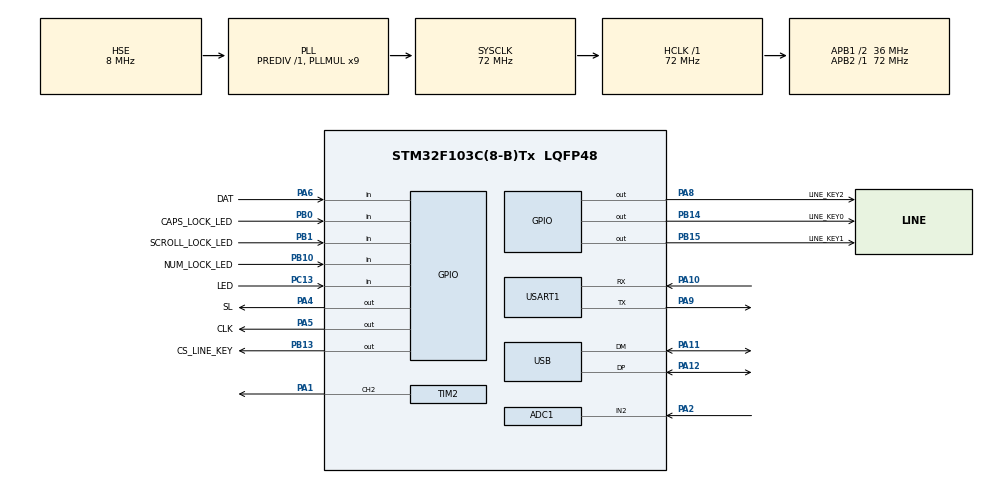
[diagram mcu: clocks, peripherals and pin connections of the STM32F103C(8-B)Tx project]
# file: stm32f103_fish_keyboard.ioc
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ADC1.Channel-0\#ChannelRegularConversion=ADC_CHANNEL_2
ADC1.ContinuousConvMode=ENABLE
ADC1.NbrOfConversionFlag=1
ADC1.Rank-0\#ChannelRegularConversion=1
ADC1.SamplingTime-0\#ChannelRegularConversion=ADC_SAMPLETIME_239CYCLES_5
ADC1.master=1
Dma.Request0=TIM2_CH2/CH4
Dma.Request1=USART1_RX
Dma.Request2=USART1_TX
Dma.TIM2_CH2/CH4.0.Direction=DMA_MEMORY_TO_PERIPH
Dma.TIM2_CH2/CH4.0.Instance=DMA1_Channel7
Dma.TIM2_CH2/CH4.0.MemDataAlignment=DMA_MDATAALIGN_HALFWORD
Dma.TIM2_CH2/CH4.0.MemInc=DMA_MINC_ENABLE
Dma.TIM2_CH2/CH4.0.Mode=DMA_NORMAL
Dma.TIM2_CH2/CH4.0.PeriphDataAlignment=DMA_PDATAALIGN_HALFWORD
Dma.TIM2_CH2/CH4.0.PeriphInc=DMA_PINC_DISABLE
Dma.TIM2_CH2/CH4.0.Priority=DMA_PRIORITY_LOW
Dma.USART1_RX.1.Direction=DMA_PERIPH_TO_MEMORY
Dma.USART1_RX.1.Instance=DMA1_Channel5
Dma.USART1_RX.1.MemDataAlignment=DMA_MDATAALIGN_BYTE
Dma.USART1_RX.1.MemInc=DMA_MINC_ENABLE
Dma.USART1_RX.1.Mode=DMA_NORMAL
Dma.USART1_RX.1.PeriphDataAlignment=DMA_PDATAALIGN_BYTE
Dma.USART1_RX.1.PeriphInc=DMA_PINC_DISABLE
Dma.USART1_RX.1.Priority=DMA_PRIORITY_LOW
Dma.USART1_TX.2.Direction=DMA_MEMORY_TO_PERIPH
Dma.USART1_TX.2.Instance=DMA1_Channel4
Dma.USART1_TX.2.MemDataAlignment=DMA_MDATAALIGN_BYTE
Dma.USART1_TX.2.MemInc=DMA_MINC_ENABLE
Dma.USART1_TX.2.Mode=DMA_NORMAL
Dma.USART1_TX.2.PeriphDataAlignment=DMA_PDATAALIGN_BYTE
Dma.USART1_TX.2.PeriphInc=DMA_PINC_DISABLE
Dma.USART1_TX.2.Priority=DMA_PRIORITY_LOW
Mcu.Family=STM32F1
Mcu.Name=STM32F103C(8-B)Tx
Mcu.Package=LQFP48
NVIC.DMA1_Channel4_IRQn=true\:0\:0\:false\:false\:true\:false\:true\:true
NVIC.DMA1_Channel5_IRQn=true\:0\:0\:false\:false\:true\:false\:true\:true
NVIC.DMA1_Channel7_IRQn=true\:0\:0\:false\:false\:true\:false\:true\:true
NVIC.PriorityGroup=NVIC_PRIORITYGROUP_4
NVIC.USART1_IRQn=true\:0\:0\:false\:false\:true\:true\:true\:true
NVIC.USB_LP_CAN1_RX0_IRQn=true\:0\:0\:false\:false\:true\:false\:true\:true
PA1.Signal=S_TIM2_CH2
PA10.Mode=Asynchronous
PA10.Signal=USART1_RX
PA11.Mode=Device
PA11.Signal=USB_DM
PA12.Mode=Device
PA12.Signal=USB_DP
PA13.Mode=Serial_Wire
PA13.Signal=SYS_JTMS-SWDIO
PA14.Mode=Serial_Wire
PA14.Signal=SYS_JTCK-SWCLK
PA2.Signal=ADCx_IN2
PA4.GPIO_Label=SL
PA4.Signal=GPIO_Output
PA5.GPIO_Label=CLK
PA5.Signal=GPIO_Output
PA6.GPIO_Label=DAT
PA6.GPIO_PuPd=GPIO_PULLDOWN
PA6.Signal=GPIO_Input
PA8.GPIO_Label=LINE_KEY2
PA8.GPIO_PuPd=GPIO_NOPULL
PA8.PinState=GPIO_PIN_SET
PA8.Signal=GPIO_Output
PA9.Mode=Asynchronous
PA9.Signal=USART1_TX
PB0.GPIO_Label=CAPS_LOCK_LED
PB0.GPIO_PuPd=GPIO_PULLUP
PB0.Signal=GPIO_Input
PB1.GPIO_Label=SCROLL_LOCK_LED
PB1.GPIO_PuPd=GPIO_PULLUP
PB1.Signal=GPIO_Input
PB10.GPIO_Label=NUM_LOCK_LED
PB10.GPIO_PuPd=GPIO_PULLUP
PB10.Signal=GPIO_Input
PB13.GPIO_Label=CS_LINE_KEY
PB13.GPIO_PuPd=GPIO_NOPULL
PB13.Signal=GPIO_Output
PB14.GPIO_Label=LINE_KEY0
PB14.GPIO_PuPd=GPIO_NOPULL
PB14.PinState=GPIO_PIN_SET
PB14.Signal=GPIO_Output
PB15.GPIO_Label=LINE_KEY1
PB15.GPIO_PuPd=GPIO_NOPULL
PB15.PinState=GPIO_PIN_SET
PB15.Signal=GPIO_Output
PC13-TAMPER-RTC.GPIO_Label=LED
PC13-TAMPER-RTC.GPIO_PuPd=GPIO_PULLUP
PC13-TAMPER-RTC.Signal=GPIO_Input
PC14-OSC32_IN.Mode=LSE-External-Oscillator
PC14-OSC32_IN.Signal=RCC_OSC32_IN
PC15-OSC32_OUT.Mode=LSE-External-Oscillator
PC15-OSC32_OUT.Signal=RCC_OSC32_OUT
PD0-OSC_IN.Mode=HSE-External-Oscillator
PD0-OSC_IN.Signal=RCC_OSC_IN
PD1-OSC_OUT.Mode=HSE-External-Oscillator
PD1-OSC_OUT.Signal=RCC_OSC_OUT
ProjectManager.HeapSize=0x200
ProjectManager.StackSize=0x400
ProjectManager.TargetToolchain=MDK-ARM V5.32
RCC.ADCPresc=RCC_ADCPCLK2_DIV6
RCC.AHBFreq_Value=72000000
RCC.APB1CLKDivider=RCC_HCLK_DIV2
RCC.APB1Freq_Value=36000000
RCC.APB1TimFreq_Value=72000000
RCC.APB2Freq_Value=72000000
RCC.APB2TimFreq_Value=72000000
RCC.HCLKFreq_Value=72000000
RCC.PLLMUL=RCC_PLL_MUL9
RCC.SYSCLKFreq_VALUE=72000000
RCC.SYSCLKSource=RCC_SYSCLKSOURCE_PLLCLK
RCC.USBFreq_Value=48000000
RCC.USBPrescaler=RCC_USBCLKSOURCE_PLL_DIV1_5
SH.ADCx_IN2.0=ADC1_IN2,IN2
SH.S_TIM2_CH2.0=TIM2_CH2,PWM Generation2 CH2
TIM2.Channel-PWM\ Generation2\ CH2=TIM_CHANNEL_2
TIM2.Period=90-1
USART1.VirtualMode=VM_ASYNC
USB_DEVICE.CLASS_NAME_FS=HID
USB_DEVICE.MANUFACTURER_STRING=Fish KeyBoard
USB_DEVICE.PID_HID_FS=20315
USB_DEVICE.PRODUCT_STRING_HID_FS=Fish KeyBoard
USB_DEVICE.VID=1055
USB_DEVICE.VirtualMode=Hid
USB_DEVICE.VirtualModeFS=Hid_FS
VP_TIM2_VS_ClockSourceINT.Mode=Internal
VP_USB_DEVICE_VS_USB_DEVICE_HID_FS.Mode=HID_FS
board=custom

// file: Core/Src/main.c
/* USER CODE BEGIN Header */
/**
  ******************************************************************************
  * @file           : main.c
  * @brief          : Main program body
  ******************************************************************************
  * @attention
  *
  * Copyright (c) 2022 STMicroelectronics.
  * All rights reserved.
  *
  * This software is licensed under terms that can be found in the LICENSE file
  * in the root directory of this software component.
  * If no LICENSE file comes with this software, it is provided AS-IS.
  *
  ******************************************************************************
  */
/* USER CODE END Header */
#include "main.h"
#include "usb_device.h"

/* USER CODE BEGIN Includes */
#include "usbd_hid.h"
#include "fish_keyboard.h"
#include "tim_pwm_led_stm32.h"
/* USER CODE END Includes */

/* USER CODE BEGIN PTD */
extern USBD_HandleTypeDef hUsbDeviceFS;
/* USER CODE END PTD */

/* USER CODE BEGIN PD */

c_timer_manager_t* timer_manager;
tim_pwm_led_stm32_t* tim_pwm_led;
scan_keyboard_t* scan_keyboard_manager;
/* USER CODE END PD */

 ADC_HandleTypeDef hadc1;

TIM_HandleTypeDef htim2;
DMA_HandleTypeDef hdma_tim2_ch2_ch4;

UART_HandleTypeDef huart1;
DMA_HandleTypeDef hdma_usart1_rx;
DMA_HandleTypeDef hdma_usart1_tx;

void SystemClock_Config(void);
static void MX_GPIO_Init(void);
static void MX_DMA_Init(void);
static void MX_TIM2_Init(void);
static void MX_ADC1_Init(void);
static void MX_USART1_UART_Init(void);

/* USER CODE BEGIN 0 */

static uint32_t fac_us;
void HAL_Delay_us_init(uint8_t SYSCLK) {
     fac_us=SYSCLK;
}

void HAL_Delay_us(uint32_t nus) {
    uint32_t ticks;
    uint32_t told,tnow,tcnt=0;
    uint32_t reload=SysTick->LOAD;
    ticks=nus*fac_us;
    told=SysTick->VAL;
    while(1) {
        tnow=SysTick->VAL;
        if(tnow!=told) {
            if(tnow<told)tcnt+=told-tnow;
            else tcnt+=reload-tnow+told;
            told=tnow;
            if(tcnt>=ticks)break;
        }
    };
}

//static inline void set_line_semaphore(uint32_t line_id) {
//	uint8_t i = 0;
//	uint8_t n = 0;
//	uint8_t byte[2] = {0};
//	(void)byte;
//	if (line_id > 8) {
//		return;
//	}

//	HAL_GPIO_WritePin(CS_LINE_KEY_GPIO_Port, CS_LINE_KEY_Pin, GPIO_PIN_SET);

//	HAL_GPIO_WritePin(LINE_KEY0_GPIO_Port, LINE_KEY0_Pin, (line_id & (1 << 0)) ? GPIO_PIN_SET : GPIO_PIN_RESET);
//	HAL_GPIO_WritePin(LINE_KEY1_GPIO_Port, LINE_KEY1_Pin, (line_id & (1 << 1)) ? GPIO_PIN_SET : GPIO_PIN_RESET);
//	HAL_GPIO_WritePin(LINE_KEY2_GPIO_Port, LINE_KEY2_Pin, (line_id & (1 << 2)) ? GPIO_PIN_SET : GPIO_PIN_RESET);

//	HAL_GPIO_WritePin(SL_GPIO_Port, SL_Pin, GPIO_PIN_RESET);
//	HAL_Delay_us(1);
//	HAL_GPIO_WritePin(SL_GPIO_Port, SL_Pin, GPIO_PIN_SET);
//	for (n = 0; n < sizeof(byte); n++) {
//		uint8_t dat = 0;
//		for(i = 0; i < 8; i++) {
//			HAL_GPIO_WritePin(CLK_GPIO_Port, CLK_Pin, GPIO_PIN_RESET);
//			if (HAL_GPIO_ReadPin(DAT_GPIO_Port, DAT_Pin) == GPIO_PIN_SET) {
//				dat |= (1 << (7 - i));
//			}
//			HAL_GPIO_WritePin(CLK_GPIO_Port, CLK_Pin, GPIO_PIN_SET);
//		}
//		byte[n] = dat;
//	}

//	HAL_GPIO_WritePin(CS_LINE_KEY_GPIO_Port, CS_LINE_KEY_Pin, GPIO_PIN_RESET);

//	HAL_GPIO_WritePin(LINE_KEY0_GPIO_Port, LINE_KEY0_Pin, GPIO_PIN_SET);
//	HAL_GPIO_WritePin(LINE_KEY1_GPIO_Port, LINE_KEY1_Pin, GPIO_PIN_SET);
//	HAL_GPIO_WritePin(LINE_KEY2_GPIO_Port, LINE_KEY2_Pin, GPIO_PIN_SET);
//}

#define LINE_KEY_MAX_SIZE					16

static void get_line_semaphore(uint32_t line_id, uint8_t line_key_list[LINE_KEY_MAX_SIZE]) {
	uint8_t n = 0;
	if (line_id > 8) {
		return;
	}

	HAL_GPIO_WritePin(CS_LINE_KEY_GPIO_Port, CS_LINE_KEY_Pin, GPIO_PIN_SET);

	HAL_GPIO_WritePin(LINE_KEY0_GPIO_Port, LINE_KEY0_Pin, (line_id & (1 << 0)) ? GPIO_PIN_SET : GPIO_PIN_RESET);
	HAL_GPIO_WritePin(LINE_KEY1_GPIO_Port, LINE_KEY1_Pin, (line_id & (1 << 1)) ? GPIO_PIN_SET : GPIO_PIN_RESET);
	HAL_GPIO_WritePin(LINE_KEY2_GPIO_Port, LINE_KEY2_Pin, (line_id & (1 << 2)) ? GPIO_PIN_SET : GPIO_PIN_RESET);

	HAL_GPIO_WritePin(SL_GPIO_Port, SL_Pin, GPIO_PIN_RESET);
	HAL_Delay_us(1);
	HAL_GPIO_WritePin(SL_GPIO_Port, SL_Pin, GPIO_PIN_SET);
	for (n = 0; n < LINE_KEY_MAX_SIZE; n++) {
		HAL_GPIO_WritePin(CLK_GPIO_Port, CLK_Pin, GPIO_PIN_RESET);
		line_key_list[LINE_KEY_MAX_SIZE - n - 1] = HAL_GPIO_ReadPin(DAT_GPIO_Port, DAT_Pin) == GPIO_PIN_SET ? TRUE : FALSE;
		HAL_GPIO_WritePin(CLK_GPIO_Port, CLK_Pin, GPIO_PIN_SET);
	}
	HAL_GPIO_WritePin(CS_LINE_KEY_GPIO_Port, CS_LINE_KEY_Pin, GPIO_PIN_RESET);

	HAL_GPIO_WritePin(LINE_KEY0_GPIO_Port, LINE_KEY0_Pin, GPIO_PIN_SET);
	HAL_GPIO_WritePin(LINE_KEY1_GPIO_Port, LINE_KEY1_Pin, GPIO_PIN_SET);
	HAL_GPIO_WritePin(LINE_KEY2_GPIO_Port, LINE_KEY2_Pin, GPIO_PIN_SET);
}

static c_bool_t physical_keyboard_get_scan_keys(uint32_t number_line, uint8_t* key_list, uint32_t* key_list_size) {
  *key_list_size = LINE_KEY_MAX_SIZE;
	if (number_line < 2) {
		get_line_semaphore(number_line, key_list);
		return TRUE;
	}
	return FALSE;
}

int8_t USBD_HID_OutEvent(uint8_t event_idx, uint8_t state)
{
  scan_keyboard_set_num_lock_statue(scan_keyboard_manager, event_idx & USB_HID_NUM_LOCK_STATE_UP);
  scan_keyboard_set_caps_lock_statue(scan_keyboard_manager, event_idx & USB_HID_CAPS_LOCK_STATE_UP);
  scan_keyboard_set_scroll_lock_statue(scan_keyboard_manager, event_idx & USB_HID_SCROLL_LOCK_STATE_UP);
  /* test */
	if ((event_idx & USB_HID_NUM_LOCK_STATE_UP)) {
    HAL_GPIO_WritePin(LED_GPIO_Port, LED_Pin, GPIO_PIN_RESET);
  } else {
    HAL_GPIO_WritePin(LED_GPIO_Port, LED_Pin, GPIO_PIN_SET);
  }
  if ((event_idx & USB_HID_NUM_LOCK_STATE_UP)) {
    HAL_GPIO_WritePin(NUM_LOCK_LED_GPIO_Port, NUM_LOCK_LED_Pin, GPIO_PIN_RESET);
  } else {
    HAL_GPIO_WritePin(NUM_LOCK_LED_GPIO_Port, NUM_LOCK_LED_Pin, GPIO_PIN_SET);
  }

	if ((event_idx & USB_HID_CAPS_LOCK_STATE_UP)) {
    HAL_GPIO_WritePin(CAPS_LOCK_LED_GPIO_Port, CAPS_LOCK_LED_Pin, GPIO_PIN_RESET);
  } else {
    HAL_GPIO_WritePin(CAPS_LOCK_LED_GPIO_Port, CAPS_LOCK_LED_Pin, GPIO_PIN_SET);
  }

	if ((event_idx & USB_HID_SCROLL_LOCK_STATE_UP)) {
    HAL_GPIO_WritePin(SCROLL_LOCK_LED_GPIO_Port, SCROLL_LOCK_LED_Pin, GPIO_PIN_RESET);
  } else {
    HAL_GPIO_WritePin(SCROLL_LOCK_LED_GPIO_Port, SCROLL_LOCK_LED_Pin, GPIO_PIN_SET);
  }

  return 0;
}

void scan_keyboard_init_all_lock_statue() {
  uint8_t KeyBoard[8] = {0,0,71,0,0,0,0,0};
  uint8_t KeyBoard01[8] = {0,0,0,0,0,0,0,0};

  USBD_HID_SendReport(&hUsbDeviceFS,(uint8_t*)&KeyBoard,sizeof(KeyBoard));
  HAL_Delay(15);
  USBD_HID_SendReport(&hUsbDeviceFS,(uint8_t*)&KeyBoard01,sizeof(KeyBoard01));
  HAL_Delay(15);
  USBD_HID_SendReport(&hUsbDeviceFS,(uint8_t*)&KeyBoard,sizeof(KeyBoard));
  HAL_Delay(15);
  USBD_HID_SendReport(&hUsbDeviceFS,(uint8_t*)&KeyBoard01,sizeof(KeyBoard01));
  HAL_Delay(15);
}

//void HAL_ADC_ConvCpltCallback(ADC_HandleTypeDef* hadc)
//{
//  float ADC_ConvertedValue = HAL_ADC_GetValue(hadc) * 3.3f / 4095.0f;
//  if (ADC_ConvertedValue > 2.0f) {
//    ADC_ConvertedValue = 3.0f;
//  } else {
//    ADC_ConvertedValue = 0.0f;
//  }
//}

/* USER CODE END 0 */

int main(void)
{

  /* MCU Configuration--------------------------------------------------------*/

  /* Reset of all peripherals, Initializes the Flash interface and the Systick. */
  HAL_Init();

  /* Configure the system clock */
  SystemClock_Config();

  /* Initialize all configured peripherals */
  MX_GPIO_Init();
  MX_DMA_Init();
  MX_USB_DEVICE_Init();
  MX_TIM2_Init();
  MX_ADC1_Init();
  MX_USART1_UART_Init();
  /* USER CODE BEGIN 2 */
  HAL_ADCEx_Calibration_Start(&hadc1);
  //HAL_ADC_Start_IT(&hadc1);
  HAL_ADC_Start(&hadc1);

  timer_manager = c_timer_manager_init();
  tim_pwm_led = tim_pwm_led_stm32_init(TIM_PWM_LED_TYPE_WS2812_GRB, &htim2, TIM_CHANNEL_2);
  tim_pwm_led_stm32_set_static_color(tim_pwm_led, 0x00, 0x00, 0xff);
  tim_pwm_led_stm32_set_round_hsv_color_model(tim_pwm_led, 1000 * 10);
//  tim_pwm_led_stm32_set_breathing_color(tim_pwm_led, 1000);
//  tim_pwm_led_stm32_set_curr_color(tim_pwm_led, 0xff, 0x0, 0x0);
	scan_keyboard_manager = scan_keyboard_create(NULL, physical_keyboard_get_scan_keys);
  scan_keyboard_init_all_lock_statue();

  //HAL_GPIO_WritePin(LED_GPIO_Port, LED_Pin, GPIO_PIN_SET);
  /* USER CODE END 2 */

  /* Infinite loop */
  /* USER CODE BEGIN WHILE */
  while (1)
  {
    float ADC_ConvertedValue = 0.0f;
		uint8_t keyboard[8] = {0};
    char rx_buffer[100]={0};

    HAL_ADC_PollForConversion(&hadc1, 50);
		if(HAL_IS_BIT_SET(HAL_ADC_GetState(&hadc1), HAL_ADC_STATE_REG_EOC)) {
			ADC_ConvertedValue = HAL_ADC_GetValue(&hadc1) * 3.3f / 4095.0f;
			sprintf(rx_buffer, "curr:%f ma\r\n", ADC_ConvertedValue * 1000 * 10 / 20);
			HAL_UART_Transmit_DMA(&huart1, (void*)rx_buffer, sizeof(rx_buffer));
		}

    c_timer_manager_dispatch_one(timer_manager);
		scan_keyboard_get_usb_keyboard_code(scan_keyboard_manager, keyboard);
    USBD_HID_SendReport(&hUsbDeviceFS, (uint8_t*)&keyboard, sizeof(keyboard));
		HAL_Delay(10);

//		HAL_GPIO_TogglePin(LED_GPIO_Port, LED_Pin);
//		set_line_semaphore(1);
//    HAL_Delay(1000);

    /* USER CODE END WHILE */

    /* USER CODE BEGIN 3 */
  }

  tim_pwm_led_stm32_deinit(tim_pwm_led);

	c_timer_manager_deinit(timer_manager);
	scan_keyboard_destroy(scan_keyboard_manager);

  /* USER CODE END 3 */
}

void SystemClock_Config(void)
{
  RCC_OscInitTypeDef RCC_OscInitStruct = {0};
  RCC_ClkInitTypeDef RCC_ClkInitStruct = {0};
  RCC_PeriphCLKInitTypeDef PeriphClkInit = {0};

  /** Initializes the RCC Oscillators according to the specified parameters
  * in the RCC_OscInitTypeDef structure.
  */
  RCC_OscInitStruct.OscillatorType = RCC_OSCILLATORTYPE_HSE;
  RCC_OscInitStruct.HSEState = RCC_HSE_ON;
  RCC_OscInitStruct.HSEPredivValue = RCC_HSE_PREDIV_DIV1;
  RCC_OscInitStruct.HSIState = RCC_HSI_ON;
  RCC_OscInitStruct.PLL.PLLState = RCC_PLL_ON;
  RCC_OscInitStruct.PLL.PLLSource = RCC_PLLSOURCE_HSE;
  RCC_OscInitStruct.PLL.PLLMUL = RCC_PLL_MUL9;
  if (HAL_RCC_OscConfig(&RCC_OscInitStruct) != HAL_OK)
  {
    Error_Handler();
  }

  /** Initializes the CPU, AHB and APB buses clocks
  */
  RCC_ClkInitStruct.ClockType = RCC_CLOCKTYPE_HCLK|RCC_CLOCKTYPE_SYSCLK
                              |RCC_CLOCKTYPE_PCLK1|RCC_CLOCKTYPE_PCLK2;
  RCC_ClkInitStruct.SYSCLKSource = RCC_SYSCLKSOURCE_PLLCLK;
  RCC_ClkInitStruct.AHBCLKDivider = RCC_SYSCLK_DIV1;
  RCC_ClkInitStruct.APB1CLKDivider = RCC_HCLK_DIV2;
  RCC_ClkInitStruct.APB2CLKDivider = RCC_HCLK_DIV1;

  if (HAL_RCC_ClockConfig(&RCC_ClkInitStruct, FLASH_LATENCY_2) != HAL_OK)
  {
    Error_Handler();
  }
  PeriphClkInit.PeriphClockSelection = RCC_PERIPHCLK_ADC|RCC_PERIPHCLK_USB;
  PeriphClkInit.AdcClockSelection = RCC_ADCPCLK2_DIV6;
  PeriphClkInit.UsbClockSelection = RCC_USBCLKSOURCE_PLL_DIV1_5;
  if (HAL_RCCEx_PeriphCLKConfig(&PeriphClkInit) != HAL_OK)
  {
    Error_Handler();
  }
}

static void MX_ADC1_Init(void)
{

  ADC_ChannelConfTypeDef sConfig = {0};

  /** Common config
  */
  hadc1.Instance = ADC1;
  hadc1.Init.ScanConvMode = ADC_SCAN_DISABLE;
  hadc1.Init.ContinuousConvMode = ENABLE;
  hadc1.Init.DiscontinuousConvMode = DISABLE;
  hadc1.Init.ExternalTrigConv = ADC_SOFTWARE_START;
  hadc1.Init.DataAlign = ADC_DATAALIGN_RIGHT;
  hadc1.Init.NbrOfConversion = 1;
  if (HAL_ADC_Init(&hadc1) != HAL_OK)
  {
    Error_Handler();
  }

  /** Configure Regular Channel
  */
  sConfig.Channel = ADC_CHANNEL_2;
  sConfig.Rank = ADC_REGULAR_RANK_1;
  sConfig.SamplingTime = ADC_SAMPLETIME_239CYCLES_5;
  if (HAL_ADC_ConfigChannel(&hadc1, &sConfig) != HAL_OK)
  {
    Error_Handler();
  }

}

static void MX_TIM2_Init(void)
{

  TIM_ClockConfigTypeDef sClockSourceConfig = {0};
  TIM_MasterConfigTypeDef sMasterConfig = {0};
  TIM_OC_InitTypeDef sConfigOC = {0};

  htim2.Instance = TIM2;
  htim2.Init.Prescaler = 0;
  htim2.Init.CounterMode = TIM_COUNTERMODE_UP;
  htim2.Init.Period = 90-1;
  htim2.Init.ClockDivision = TIM_CLOCKDIVISION_DIV1;
  htim2.Init.AutoReloadPreload = TIM_AUTORELOAD_PRELOAD_DISABLE;
  if (HAL_TIM_Base_Init(&htim2) != HAL_OK)
  {
    Error_Handler();
  }
  sClockSourceConfig.ClockSource = TIM_CLOCKSOURCE_INTERNAL;
  if (HAL_TIM_ConfigClockSource(&htim2, &sClockSourceConfig) != HAL_OK)
  {
    Error_Handler();
  }
  if (HAL_TIM_PWM_Init(&htim2) != HAL_OK)
  {
    Error_Handler();
  }
  sMasterConfig.MasterOutputTrigger = TIM_TRGO_RESET;
  sMasterConfig.MasterSlaveMode = TIM_MASTERSLAVEMODE_DISABLE;
  if (HAL_TIMEx_MasterConfigSynchronization(&htim2, &sMasterConfig) != HAL_OK)
  {
    Error_Handler();
  }
  sConfigOC.OCMode = TIM_OCMODE_PWM1;
  sConfigOC.Pulse = 0;
  sConfigOC.OCPolarity = TIM_OCPOLARITY_HIGH;
  sConfigOC.OCFastMode = TIM_OCFAST_DISABLE;
  if (HAL_TIM_PWM_ConfigChannel(&htim2, &sConfigOC, TIM_CHANNEL_2) != HAL_OK)
  {
    Error_Handler();
  }
  HAL_TIM_MspPostInit(&htim2);

}

static void MX_USART1_UART_Init(void)
{

  huart1.Instance = USART1;
  huart1.Init.BaudRate = 115200;
  huart1.Init.WordLength = UART_WORDLENGTH_8B;
  huart1.Init.StopBits = UART_STOPBITS_1;
  huart1.Init.Parity = UART_PARITY_NONE;
  huart1.Init.Mode = UART_MODE_TX_RX;
  huart1.Init.HwFlowCtl = UART_HWCONTROL_NONE;
  huart1.Init.OverSampling = UART_OVERSAMPLING_16;
  if (HAL_UART_Init(&huart1) != HAL_OK)
  {
    Error_Handler();
  }

}

static void MX_DMA_Init(void)
{

  /* DMA controller clock enable */
  __HAL_RCC_DMA1_CLK_ENABLE();

  /* DMA interrupt init */
  /* DMA1_Channel4_IRQn interrupt configuration */
  HAL_NVIC_SetPriority(DMA1_Channel4_IRQn, 0, 0);
  HAL_NVIC_EnableIRQ(DMA1_Channel4_IRQn);
  /* DMA1_Channel5_IRQn interrupt configuration */
  HAL_NVIC_SetPriority(DMA1_Channel5_IRQn, 0, 0);
  HAL_NVIC_EnableIRQ(DMA1_Channel5_IRQn);
  /* DMA1_Channel7_IRQn interrupt configuration */
  HAL_NVIC_SetPriority(DMA1_Channel7_IRQn, 0, 0);
  HAL_NVIC_EnableIRQ(DMA1_Channel7_IRQn);

}

static void MX_GPIO_Init(void)
{
  GPIO_InitTypeDef GPIO_InitStruct = {0};

  /* GPIO Ports Clock Enable */
  __HAL_RCC_GPIOC_CLK_ENABLE();
  __HAL_RCC_GPIOD_CLK_ENABLE();
  __HAL_RCC_GPIOA_CLK_ENABLE();
  __HAL_RCC_GPIOB_CLK_ENABLE();

  /*Configure GPIO pin Output Level */
  HAL_GPIO_WritePin(GPIOA, SL_Pin|CLK_Pin, GPIO_PIN_RESET);

  /*Configure GPIO pin Output Level */
  HAL_GPIO_WritePin(CS_LINE_KEY_GPIO_Port, CS_LINE_KEY_Pin, GPIO_PIN_RESET);

  /*Configure GPIO pin Output Level */
  HAL_GPIO_WritePin(GPIOB, LINE_KEY0_Pin|LINE_KEY1_Pin, GPIO_PIN_SET);

  /*Configure GPIO pin Output Level */
  HAL_GPIO_WritePin(LINE_KEY2_GPIO_Port, LINE_KEY2_Pin, GPIO_PIN_SET);

  /*Configure GPIO pin : LED_Pin */
  GPIO_InitStruct.Pin = LED_Pin;
  GPIO_InitStruct.Mode = GPIO_MODE_INPUT;
  GPIO_InitStruct.Pull = GPIO_PULLUP;
  HAL_GPIO_Init(LED_GPIO_Port, &GPIO_InitStruct);

  /*Configure GPIO pins : SL_Pin CLK_Pin LINE_KEY2_Pin */
  GPIO_InitStruct.Pin = SL_Pin|CLK_Pin|LINE_KEY2_Pin;
  GPIO_InitStruct.Mode = GPIO_MODE_OUTPUT_PP;
  GPIO_InitStruct.Pull = GPIO_NOPULL;
  GPIO_InitStruct.Speed = GPIO_SPEED_FREQ_LOW;
  HAL_GPIO_Init(GPIOA, &GPIO_InitStruct);

  /*Configure GPIO pin : DAT_Pin */
  GPIO_InitStruct.Pin = DAT_Pin;
  GPIO_InitStruct.Mode = GPIO_MODE_INPUT;
  GPIO_InitStruct.Pull = GPIO_PULLDOWN;
  HAL_GPIO_Init(DAT_GPIO_Port, &GPIO_InitStruct);

  /*Configure GPIO pins : CAPS_LOCK_LED_Pin SCROLL_LOCK_LED_Pin NUM_LOCK_LED_Pin */
  GPIO_InitStruct.Pin = CAPS_LOCK_LED_Pin|SCROLL_LOCK_LED_Pin|NUM_LOCK_LED_Pin;
  GPIO_InitStruct.Mode = GPIO_MODE_INPUT;
  GPIO_InitStruct.Pull = GPIO_PULLUP;
  HAL_GPIO_Init(GPIOB, &GPIO_InitStruct);

  /*Configure GPIO pins : CS_LINE_KEY_Pin LINE_KEY0_Pin LINE_KEY1_Pin */
  GPIO_InitStruct.Pin = CS_LINE_KEY_Pin|LINE_KEY0_Pin|LINE_KEY1_Pin;
  GPIO_InitStruct.Mode = GPIO_MODE_OUTPUT_PP;
  GPIO_InitStruct.Pull = GPIO_NOPULL;
  GPIO_InitStruct.Speed = GPIO_SPEED_FREQ_LOW;
  HAL_GPIO_Init(GPIOB, &GPIO_InitStruct);

}

void Error_Handler(void)
{
  __disable_irq();
  while (1)
  {
  }
}
